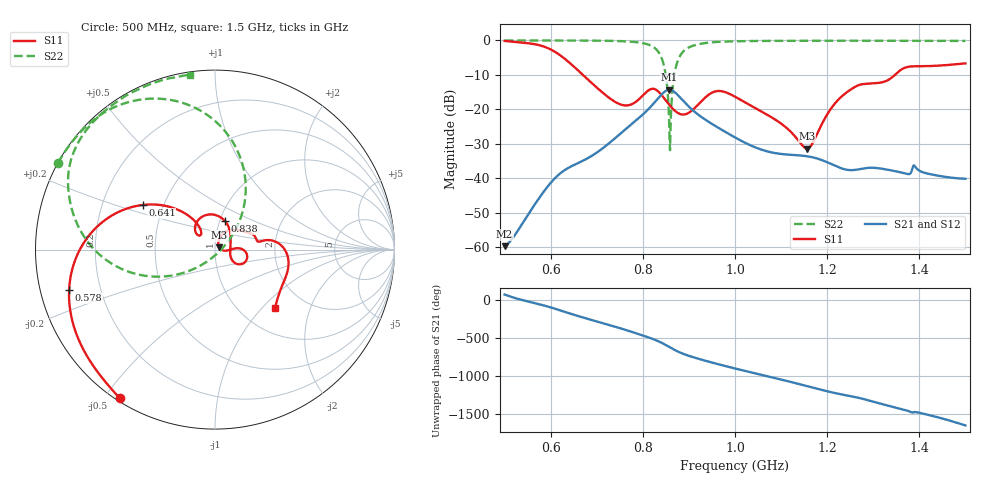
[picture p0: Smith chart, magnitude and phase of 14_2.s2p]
! TOUCHSTONE file generated by CST MICROWAVE STUDIO
! Date and time: Fri Oct  2 16:31:08 2020
! Project name: Scenario_1_Free_Space_out_of_line.cst
! Parameters = {Lambda=346.42; Step_1=17.321; dy1=122.207; dx1=346; L_HA=400; MT=2.54; Rad_Dielectric=30; Rad_Lower=7.3; Rad_Upper=30; a_HA=580; a_WG=246; b_HA=500; b_WG=121; c_HA=0; c_WG=187; d_feed=85; h_feed=15; h_lower=18; h_upper=40}
! Header version: 2018
! Port assignment regex: !\s*Touchstone port\s*([0-9]+)\s*=\s*(CST MWS port|CST DS port)\s*([0-9]+|Zmin|Zmax)\s*\(\"(.*)\"\)(\s*mode\s*([0-9]+))?.*
! Touchstone port assignment:
! Touchstone port 1 = CST MWS port 1 ("")
! Touchstone port 2 = CST MWS port 2 ("")
# GHz S DB R 50
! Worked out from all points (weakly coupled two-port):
!   1003 points, 500 MHz to 1.5 GHz, reference 50 ohm
!   highest |S21| = -14.33 dB at 857 MHz (marker M1); lowest = -59.7 dB at 500 MHz (marker M2)
!   lowest |S11| = -31.4 dB at 1.156 GHz (marker M3), VSWR 1.06, Z = 52.4 + j1.31 ohm
!   |S11| at or under -10 dB: 670 MHz to 1.347 GHz (677 MHz wide, 67.1 % of centre)
!   |S22| runs from -31.8 to 0.0 dB; largest |S21 - S12| = 1.7e-05
!   S11 on the Smith chart (normalised r, x): 500 MHz: 0.01, -0.55; 578 MHz: 0.09, -0.13; 641 MHz: 0.38, +0.24; 838 MHz: 1.06, +0.35; 1.5 GHz: 1.43, -1.18
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0.5  -0.14 -122.7  -59.67 74.4  -59.67 74.4  -0.01 151.1
0.578  -1.48 -164.6  -45.14 -57.6  -45.14 -57.6  -0.02 145.8
0.641  -6.48 148.3  -36.77 -174.7  -36.77 -174.7  -0.03 140.7
0.667  -9.62 135.2  -35.09 137.0  -35.09 137.0  -0.04 138.3
0.756  -18.74 132.2  -26.51 -19.8  -26.51 -19.8  -0.22 126.1
0.811  -14.60 122.1  -20.06 -128.4  -20.06 -128.4  -1.15 107.3
0.834  -14.87 78.7  -16.66 177.1  -16.66 177.1  -3.38 86.5
0.838  -15.43 71.4  -16.06 165.9  -16.06 165.9  -4.29 80.8
0.849  -17.26 53.6  -14.71 131.4  -14.71 131.4  -9.45 59.9
0.857  -18.62 42.2  -14.33 103.7  -14.33 103.7  -23.37 26.2
0.862  -19.40 35.3  -14.44 86.2  -14.44 86.2  -18.62 -131.8
0.867  -20.08 28.2  -14.80 69.4  -14.80 69.4  -11.06 -148.9
0.871  -20.56 22.5  -15.23 56.7  -15.23 56.7  -8.10 -157.8
0.888  -21.50 -2.8  -17.59 11.3  -17.59 11.3  -3.17 178.0
0.955  -14.88 -23.0  -24.62 -111.2  -24.62 -111.2  -0.50 148.2
1  -16.32 0.7  -28.13 178.6  -28.13 178.6  -0.25 140.3
1.156  -31.36 27.5  -33.59 -53.6  -33.59 -53.6  -0.10 125.1
1.167  -30.11 51.4  -33.86 -71.2  -33.86 -71.2  -0.10 124.2
1.235  -15.84 43.3  -37.27 -168.0  -37.27 -168.0  -0.08 119.0
1.334  -11.35 10.6  -37.56 45.1  -37.57 45.1  -0.09 111.5
1.376  -7.65 -9.0  -38.77 -21.9  -38.77 -21.9  -0.09 108.2
1.5  -6.65 -44.1  -40.12 146.6  -40.11 146.7  -0.14 98.0
